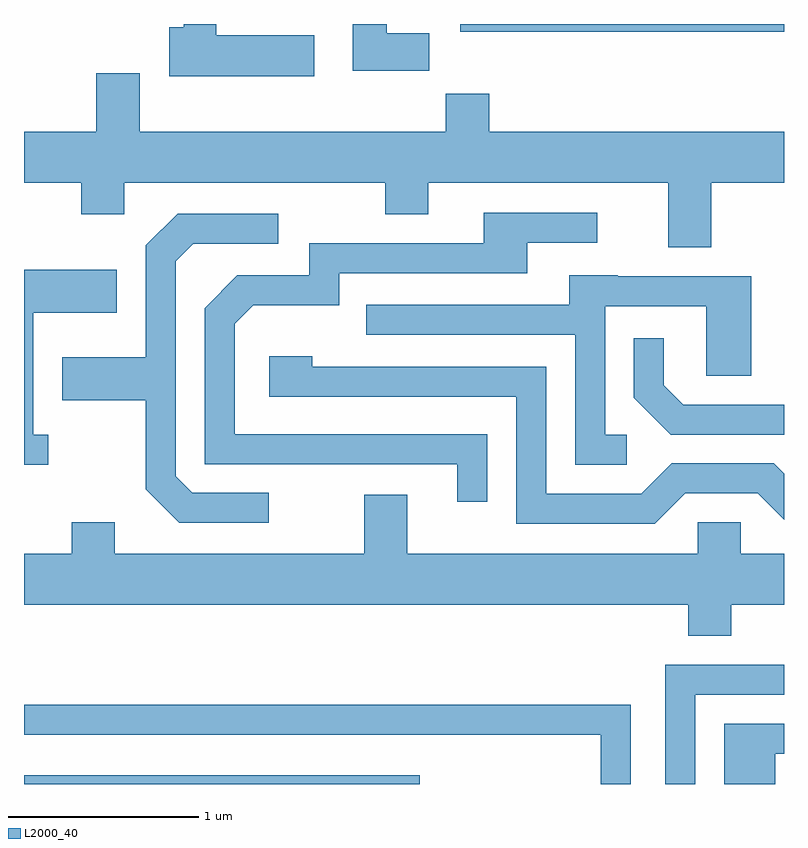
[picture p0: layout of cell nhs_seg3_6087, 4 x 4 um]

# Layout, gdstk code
import gdstk
lib = gdstk.Library(unit=1e-6, precision=1e-09)
def R(c, l, rs):  # rectangles x0, y0, x1, y1
    for r in rs: c.add(gdstk.rectangle(r[:2], r[2:], *l))
def P(c, l, *ps):  # polygons
    for p in ps: c.add(gdstk.Polygon(p, *l))
L2000_40 = (2000, 40)

nhs_seg3_6087 = lib.new_cell('nhs_seg3_6087')
R(nhs_seg3_6087, L2000_40, [(363.611,1193.892,365.694,1193.939), (365.906,1197.851,367.611,1197.892)])
P(nhs_seg3_6087, L2000_40, [(365.139,1197.834),(364.624,1197.834),(364.624,1197.892),(364.451,1197.892),(364.451,1197.874),(364.376,1197.874),(364.376,1197.616),(365.139,1197.616)],
  [(365.744,1197.844),(365.519,1197.844),(365.519,1197.892),(365.341,1197.892),(365.341,1197.646),(365.744,1197.646)],
  [(367.229,1197.056),(367.611,1197.056),(367.611,1197.324),(366.059,1197.324),(366.059,1197.524),(365.831,1197.524),(365.831,1197.324),(364.219,1197.324),(364.219,1197.634),(363.991,1197.634),(363.991,1197.324),(363.611,1197.324),(363.611,1197.056),(363.911,1197.056),(363.911,1196.891),(364.139,1196.891),(364.139,1197.056),(365.511,1197.056),(365.511,1196.891),(365.739,1196.891),(365.739,1197.056),(367.001,1197.056),(367.001,1196.716),(367.229,1196.716)],
  [(366.049,1195.734),(364.719,1195.734),(364.719,1196.314),(364.817,1196.411),(365.269,1196.411),(365.269,1196.581),(366.259,1196.581),(366.259,1196.741),(366.628,1196.741),(366.628,1196.899),(366.031,1196.899),(366.031,1196.739),(365.111,1196.739),(365.111,1196.569),(364.734,1196.569),(364.561,1196.397),(364.561,1195.576),(365.891,1195.576),(365.891,1195.378),(366.049,1195.378)],
  [(364.898,1195.424),(364.497,1195.424),(364.409,1195.512),(364.409,1196.644),(364.502,1196.736),(364.948,1196.736),(364.948,1196.894),(364.419,1196.894),(364.251,1196.727),(364.251,1196.139),(363.811,1196.139),(363.811,1195.911),(364.251,1195.911),(364.251,1195.444),(364.429,1195.266),(364.898,1195.266)],
  [(363.738,1195.729),(363.659,1195.729),(363.659,1196.371),(364.099,1196.371),(364.099,1196.599),(363.611,1196.599),(363.611,1195.571),(363.738,1195.571)],
  [(366.783,1195.729),(366.669,1195.729),(366.669,1196.406),(367.201,1196.406),(367.201,1196.041),(367.439,1196.041),(367.439,1196.564),(366.735,1196.564),(366.735,1196.569),(366.481,1196.569),(366.481,1196.414),(365.413,1196.414),(365.413,1196.256),(366.511,1196.256),(366.511,1195.571),(366.783,1195.571)],
  [(367.611,1195.889),(367.082,1195.889),(366.979,1195.992),(366.979,1196.238),(366.821,1196.238),(366.821,1195.924),(367.014,1195.731),(367.611,1195.731)],
  [(367.092,1195.421),(367.474,1195.421),(367.611,1195.284),(367.611,1195.525),(367.557,1195.579),(367.019,1195.579),(366.859,1195.419),(366.359,1195.419),(366.359,1196.089),(365.129,1196.089),(365.129,1196.144),(364.901,1196.144),(364.901,1195.931),(366.201,1195.931),(366.201,1195.261),(366.932,1195.261)],
  [(367.334,1194.836),(367.611,1194.836),(367.611,1195.104),(367.384,1195.104),(367.384,1195.269),(367.156,1195.269),(367.156,1195.104),(365.629,1195.104),(365.629,1195.414),(365.401,1195.414),(365.401,1195.104),(364.089,1195.104),(364.089,1195.269),(363.861,1195.269),(363.861,1195.104),(363.611,1195.104),(363.611,1194.836),(367.106,1194.836),(367.106,1194.671),(367.334,1194.671)],
  [(367.144,1194.361),(367.611,1194.361),(367.611,1194.519),(366.986,1194.519),(366.986,1193.892),(367.144,1193.892)],
  [(366.804,1194.309),(363.611,1194.309),(363.611,1194.151),(366.646,1194.151),(366.646,1193.892),(366.804,1193.892)],
  [(367.564,1194.051),(367.611,1194.051),(367.611,1194.209),(367.296,1194.209),(367.296,1193.892),(367.564,1193.892)])

lib.write_gds('nhs_seg3_6087.gds')
